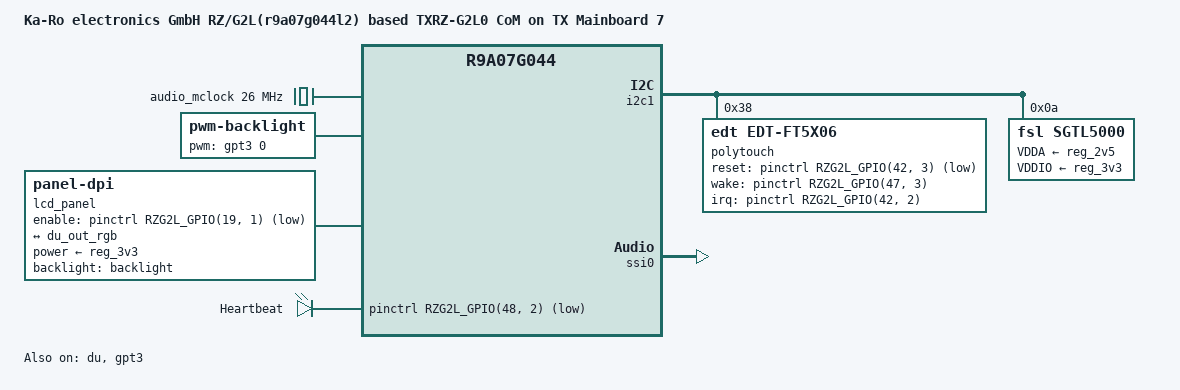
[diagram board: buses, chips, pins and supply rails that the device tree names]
// SPDX-License-Identifier: (GPL-2.0 OR BSD-3-Clause)
/*
 * Device Tree Source for the RZG2L based Ka-Ro TXRZ-G2L0 CoM on MB7
 *
 * Copyright (C) 2022 Markus Bauer <MB@karo-electronics.com>
 */

/dts-v1/;
#include "r9a07g044l2-txrz-g2l0.dts"

/ {
	model = "Ka-Ro electronics GmbH RZ/G2L(r9a07g044l2) based TXRZ-G2L0 CoM on TX Mainboard 7";
	compatible = "renesas,r9a07g044l2", "renesas,r9a07g044";

	aliases {
		panel = &lcd_panel;
	};

	audio_mclock: audio_mclock {
		compatible = "fixed-clock";
		#clock-cells = <0>;
		clock-frequency = <26000000>;
	};

	backlight: pwm-backlight {
		compatible = "pwm-backlight";
		pwms = <&gpt3 0 50000>;
		brightness-levels = <100 99 98 97 96 95 94 93 92 91
				      90 89 88 87 86 85 84 83 82 81
				      80 79 78 77 76 75 74 73 72 71
				      70 69 68 67 66 65 64 63 62 61
				      60 59 58 57 56 55 54 53 52 51
				      50 49 48 47 46 45 44 43 42 41
				      40 39 38 37 36 35 34 33 32 31
				      30 29 28 27 26 25 24 23 22 21
				      20 19 18 17 16 15 14 13 12 11
				      10  9  8  7  6  5  4  3  2  1
				       0>;
		default-brightness-level = <50>;
	};

	lcd_panel: lcd-panel {
		compatible = "panel-dpi";
		enable-gpios = <&pinctrl RZG2L_GPIO(19, 1) GPIO_ACTIVE_LOW>;
		power-supply = <&reg_3v3>;
		backlight = <&backlight>;
		data-mapping = "rgb24";
		status = "okay";

		panel-timing {
			clock-frequency = <25200000>;
			hactive = <640>;
			vactive = <480>;
			hback-porch = <114>;
			hsync-len = <30>;
			hfront-porch = <16>;
			vback-porch = <32>;
			vsync-len = <3>;
			vfront-porch = <10>;
			hsync-active = <0>;
			vsync-active = <0>;
			de-active = <1>;
			pixelclk-active = <1>;
		};

		port {
			lcd_panel_in: endpoint {
				remote-endpoint = <&du_out_rgb>;
			};
		};
		
		display-timings {
			VGA: VGA {
				clock-frequency = <25200000>;
				hactive = <640>;
				vactive = <480>;
				hback-porch = <48>;
				hsync-len = <96>;
				hfront-porch = <16>;
				vback-porch = <31>;
				vsync-len = <2>;
				vfront-porch = <12>;
				hsync-active = <0>;
				vsync-active = <0>;
				de-active = <1>;
				pixelclk-active = <0>;
			};

			ETV570: ETV570 {
				u-boot,panel-name = "edt,et057090dhu";
				clock-frequency = <25200000>;
				hactive = <640>;
				vactive = <480>;
				hback-porch = <114>;
				hsync-len = <30>;
				hfront-porch = <16>;
				vback-porch = <32>;
				vsync-len = <3>;
				vfront-porch = <10>;
				hsync-active = <0>;
				vsync-active = <0>;
				de-active = <1>;
				pixelclk-active = <1>;
			};

			ET0350: ET0350 {
				u-boot,panel-name = "edt,et0350g0dh6";
				clock-frequency = <6413760>;
				hactive = <320>;
				vactive = <240>;
				hback-porch = <34>;
				hsync-len = <34>;
				hfront-porch = <20>;
				vback-porch = <15>;
				vsync-len = <3>;
				vfront-porch = <4>;
				hsync-active = <0>;
				vsync-active = <0>;
				de-active = <1>;
				pixelclk-active = <0>;
			};

			ET0430: ET0430 {
				u-boot,panel-name = "edt,et0430g0dh6";
				clock-frequency = <9009000>;
				hactive = <480>;
				vactive = <272>;
				hback-porch = <2>;
				hsync-len = <41>;
				hfront-porch = <2>;
				vback-porch = <2>;
				vsync-len = <10>;
				vfront-porch = <2>;
				hsync-active = <0>;
				vsync-active = <0>;
				de-active = <1>;
				pixelclk-active = <1>;
			};

			ET0500: ET0500 {
				clock-frequency = <33264000>;
				hactive = <800>;
				vactive = <480>;
				hback-porch = <88>;
				hsync-len = <128>;
				hfront-porch = <40>;
				vback-porch = <33>;
				vsync-len = <2>;
				vfront-porch = <10>;
				hsync-active = <0>;
				vsync-active = <0>;
				de-active = <1>;
				pixelclk-active = <0>;
			};

			ET0700: ET0700 { /* same as ET0500 */
				u-boot,panel-name = "edt,etm0700g0dh6";
				clock-frequency = <33264000>;
				hactive = <800>;
				vactive = <480>;
				hback-porch = <88>;
				hsync-len = <128>;
				hfront-porch = <40>;
				vback-porch = <33>;
				vsync-len = <2>;
				vfront-porch = <10>;
				hsync-active = <0>;
				vsync-active = <0>;
				de-active = <1>;
				pixelclk-active = <0>;
			};

			ETQ570: ETQ570 {
				clock-frequency = <6596040>;
				hactive = <320>;
				vactive = <240>;
				hback-porch = <38>;
				hsync-len = <30>;
				hfront-porch = <30>;
				vback-porch = <16>;
				vsync-len = <3>;
				vfront-porch = <4>;
				hsync-active = <0>;
				vsync-active = <0>;
				de-active = <1>;
				pixelclk-active = <0>;
			};
		};
	};

	leds {
		compatible = "gpio-leds";

		module_led: module-led {
			gpios = <&pinctrl RZG2L_GPIO(48, 2) GPIO_ACTIVE_LOW>;
			label = "Heartbeat";
			default-state = "on";
			linux,default-trigger = "heartbeat";
		};
	};

	snd_rzg2l: sound {
		compatible = "simple-audio-card";
		simple-audio-card,format = "i2s";
		simple-audio-card,bitclock-master = <&codec_dai>;
		simple-audio-card,frame-master = <&codec_dai>;
		simple-audio-card,mclk-fs = <256>;

		simple-audio-card,widgets =
			"Microphone", "Mic Jack",
			"Line", "Line In",
			"Line", "Line Out",
			"Headphone", "Headphone Jack";
		simple-audio-card,routing =
			"MIC_IN", "Mic Jack",
			"Mic Jack", "Mic Bias",
			"Headphone Jack", "HP_OUT";

		cpu_dai: simple-audio-card,cpu {
			sound-dai = <&ssi0>;
		};

		codec_dai: simple-audio-card,codec {
			sound-dai = <&sgtl5000>;
		};
	};
};

&du {
	status = "okay";
};

&du_out_rgb {
	remote-endpoint = <&lcd_panel_in>;
};

&gpt3 {
	pinctrl-names = "default";
	pinctrl-0 = <&gpt3_pins>;
	channel = "channel_B";
	status = "okay";
};

&i2c1 {
	polytouch: touch-controller@38 {
		compatible = "edt,edt-ft5x06";
		reg = <0x38>;
		interrupt-parent = <&pinctrl>;
		interrupts = <RZG2L_GPIO(42, 2) IRQ_TYPE_EDGE_FALLING>;
		reset-gpios = <&pinctrl RZG2L_GPIO(42, 3) GPIO_ACTIVE_LOW>;
		wake-gpios = <&pinctrl RZG2L_GPIO(47, 3) GPIO_ACTIVE_HIGH>;
		wakeup-source;
		status = "okay";
	};
	
	sgtl5000: codec@a {
		compatible = "fsl,sgtl5000";
		#sound-dai-cells = <0>;
		reg = <0x0a>;
		VDDA-supply = <&reg_2v5>;
		VDDIO-supply = <&reg_3v3>;
		clocks = <&audio_mclock>;
		status = "okay";
	};
};

&ssi0 {
	status = "okay";
};

&pinctrl {
	gpt3_pins: gpt3-pins {
		pinmux = <RZG2L_PORT_PINMUX(41, 0, 4)>, /* Channel A */
			 <RZG2L_PORT_PINMUX(41, 1, 4)>; /* Channel B */
	};
};
